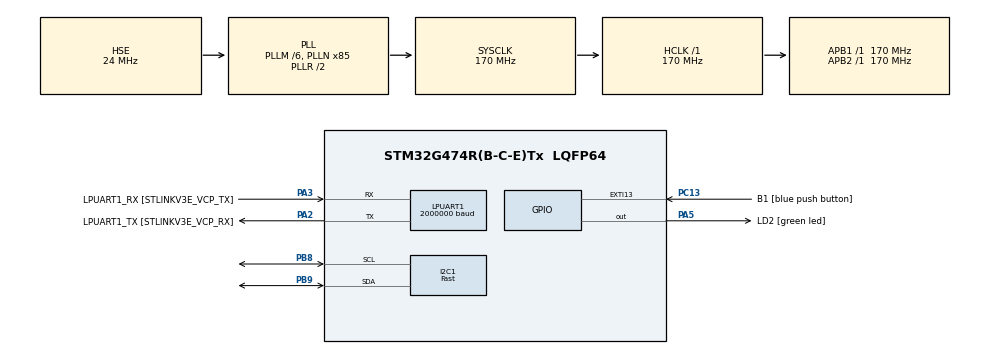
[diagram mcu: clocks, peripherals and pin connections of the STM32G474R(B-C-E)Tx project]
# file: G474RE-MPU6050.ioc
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Dma.LPUART1_RX.0.Direction=DMA_PERIPH_TO_MEMORY
Dma.LPUART1_RX.0.EventEnable=DISABLE
Dma.LPUART1_RX.0.Instance=DMA1_Channel1
Dma.LPUART1_RX.0.MemDataAlignment=DMA_MDATAALIGN_BYTE
Dma.LPUART1_RX.0.MemInc=DMA_MINC_ENABLE
Dma.LPUART1_RX.0.Mode=DMA_CIRCULAR
Dma.LPUART1_RX.0.PeriphDataAlignment=DMA_PDATAALIGN_BYTE
Dma.LPUART1_RX.0.PeriphInc=DMA_PINC_DISABLE
Dma.LPUART1_RX.0.Polarity=HAL_DMAMUX_REQ_GEN_RISING
Dma.LPUART1_RX.0.Priority=DMA_PRIORITY_VERY_HIGH
Dma.LPUART1_RX.0.RequestNumber=1
Dma.LPUART1_RX.0.SignalID=NONE
Dma.LPUART1_RX.0.SyncEnable=DISABLE
Dma.LPUART1_RX.0.SyncPolarity=HAL_DMAMUX_SYNC_NO_EVENT
Dma.LPUART1_RX.0.SyncRequestNumber=1
Dma.LPUART1_RX.0.SyncSignalID=NONE
Dma.LPUART1_TX.1.Direction=DMA_MEMORY_TO_PERIPH
Dma.LPUART1_TX.1.EventEnable=DISABLE
Dma.LPUART1_TX.1.Instance=DMA1_Channel2
Dma.LPUART1_TX.1.MemDataAlignment=DMA_MDATAALIGN_BYTE
Dma.LPUART1_TX.1.MemInc=DMA_MINC_ENABLE
Dma.LPUART1_TX.1.Mode=DMA_NORMAL
Dma.LPUART1_TX.1.PeriphDataAlignment=DMA_PDATAALIGN_BYTE
Dma.LPUART1_TX.1.PeriphInc=DMA_PINC_DISABLE
Dma.LPUART1_TX.1.Polarity=HAL_DMAMUX_REQ_GEN_RISING
Dma.LPUART1_TX.1.Priority=DMA_PRIORITY_VERY_HIGH
Dma.LPUART1_TX.1.RequestNumber=1
Dma.LPUART1_TX.1.SignalID=NONE
Dma.LPUART1_TX.1.SyncEnable=DISABLE
Dma.LPUART1_TX.1.SyncPolarity=HAL_DMAMUX_SYNC_NO_EVENT
Dma.LPUART1_TX.1.SyncRequestNumber=1
Dma.LPUART1_TX.1.SyncSignalID=NONE
Dma.Request0=LPUART1_RX
Dma.Request1=LPUART1_TX
FREERTOS.Tasks01=defaultTask,24,3000,StartDefaultTask,Default,NULL,Static,defaultTaskBuffer,defaultTaskControlBlock
FREERTOS.configENABLE_FPU=1
I2C1.I2C_Speed_Mode=I2C_Fast
I2C1.Timing=0x40621236
IWDG.Reload=2499
LPUART1.BaudRate=2000000
Mcu.Family=STM32G4
Mcu.Name=STM32G474R(B-C-E)Tx
Mcu.Package=LQFP64
NVIC.DMA1_Channel1_IRQn=true\:5\:0\:false\:false\:true\:true\:false\:true\:true
NVIC.DMA1_Channel2_IRQn=true\:5\:0\:false\:false\:true\:true\:false\:true\:true
NVIC.EXTI15_10_IRQn=true\:5\:0\:false\:false\:true\:true\:true\:true\:true
NVIC.LPUART1_IRQn=true\:5\:0\:false\:false\:true\:true\:true\:true\:true
NVIC.PriorityGroup=NVIC_PRIORITYGROUP_4
NVIC.TIM1_UP_TIM16_IRQn=true\:15\:0\:false\:false\:true\:false\:false\:true\:true
NVIC.TimeBase=TIM1_UP_TIM16_IRQn
NVIC.TimeBaseIP=TIM1
PA13.GPIO_Label=T_SWDIO
PA13.Signal=SYS_JTMS-SWDIO
PA14.GPIO_Label=T_SWCLK
PA14.Signal=SYS_JTCK-SWCLK
PA2.GPIO_Label=LPUART1_TX [STLINKV3E_VCP_RX]
PA2.Mode=Asynchronous
PA2.Signal=LPUART1_TX
PA3.GPIO_Label=LPUART1_RX [STLINKV3E_VCP_TX]
PA3.Mode=Asynchronous
PA3.Signal=LPUART1_RX
PA5.GPIO_Label=LD2 [green led]
PA5.Signal=GPIO_Output
PB3.GPIO_Label=T_SWO
PB3.Signal=SYS_JTDO-SWO
PB8-BOOT0.Mode=I2C
PB8-BOOT0.Signal=I2C1_SCL
PB9.Mode=I2C
PB9.Signal=I2C1_SDA
PC13.GPIO_Label=B1 [blue push button]
PC13.Signal=GPXTI13
PC14-OSC32_IN.GPIO_Label=RCC_OSC32_IN
PC14-OSC32_IN.Signal=RCC_OSC32_IN
PC15-OSC32_OUT.GPIO_Label=RCC_OSC32_OUT
PC15-OSC32_OUT.Signal=RCC_OSC32_OUT
PF0-OSC_IN.GPIO_Label=RCC_OSC_IN
PF0-OSC_IN.Mode=HSE-External-Oscillator
PF0-OSC_IN.Signal=RCC_OSC_IN
PF1-OSC_OUT.GPIO_Label=RCC_OSC_OUT
PF1-OSC_OUT.Mode=HSE-External-Oscillator
PF1-OSC_OUT.Signal=RCC_OSC_OUT
ProjectManager.HeapSize=0x200
ProjectManager.StackSize=0x400
ProjectManager.TargetToolchain=STM32CubeIDE
RCC.ADC12Freq_Value=170000000
RCC.ADC345Freq_Value=170000000
RCC.AHBFreq_Value=170000000
RCC.APB1Freq_Value=170000000
RCC.APB1TimFreq_Value=170000000
RCC.APB2Freq_Value=170000000
RCC.APB2TimFreq_Value=170000000
RCC.CortexFreq_Value=170000000
RCC.EXTERNAL_CLOCK_VALUE=12288000
RCC.HCLKFreq_Value=170000000
RCC.HSE_VALUE=24000000
RCC.HSI48_VALUE=48000000
RCC.HSI_VALUE=16000000
RCC.LSE_VALUE=32768
RCC.PLLM=RCC_PLLM_DIV6
RCC.PLLN=85
RCC.PLLSourceVirtual=RCC_PLLSOURCE_HSE
RCC.RTCClockSelection=RCC_RTCCLKSOURCE_LSE
RCC.SYSCLKFreq_VALUE=170000000
RCC.SYSCLKSource=RCC_SYSCLKSOURCE_PLLCLK
RCC.USBFreq_Value=170000000
RCC.VCOOutputFreq_Value=340000000
VP_FREERTOS_VS_CMSIS_V2.Mode=CMSIS_V2
VP_IWDG_VS_IWDG.Mode=IWDG_Activate
VP_SYS_VS_DBSignals.Mode=DisableDeadBatterySignals
VP_SYS_VS_tim1.Mode=TIM1
board=NUCLEO-G474RE

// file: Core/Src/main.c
/* USER CODE BEGIN Header */
/**
  ******************************************************************************
  * @file           : main.c
  * @brief          : Main program body
  ******************************************************************************
  * @attention
  *
  * Copyright (c) 2024 STMicroelectronics.
  * All rights reserved.
  *
  * This software is licensed under terms that can be found in the LICENSE file
  * in the root directory of this software component.
  * If no LICENSE file comes with this software, it is provided AS-IS.
  *
  ******************************************************************************
  */
/* USER CODE END Header */
#include "main.h"
#include "cmsis_os.h"
#include "dma.h"
#include "i2c.h"
#include "iwdg.h"
#include "usart.h"
#include "gpio.h"

void SystemClock_Config(void);
void MX_FREERTOS_Init(void);

int main(void)
{

  /* MCU Configuration--------------------------------------------------------*/

  /* Reset of all peripherals, Initializes the Flash interface and the Systick. */
  HAL_Init();

  /* Configure the system clock */
  SystemClock_Config();

  /* Initialize all configured peripherals */
  MX_GPIO_Init();
  MX_DMA_Init();
  MX_LPUART1_UART_Init();
  MX_IWDG_Init();
  MX_I2C1_Init();

  /* Init scheduler */
  osKernelInitialize();

  /* Call init function for freertos objects (in cmsis_os2.c) */
  MX_FREERTOS_Init();

  /* Start scheduler */
  osKernelStart();

  /* We should never get here as control is now taken by the scheduler */

  /* Infinite loop */
  while (1)
  {

  }
}

void SystemClock_Config(void)
{
  RCC_OscInitTypeDef RCC_OscInitStruct = {0};
  RCC_ClkInitTypeDef RCC_ClkInitStruct = {0};

  /** Configure the main internal regulator output voltage
  */
  HAL_PWREx_ControlVoltageScaling(PWR_REGULATOR_VOLTAGE_SCALE1_BOOST);

  /** Initializes the RCC Oscillators according to the specified parameters
  * in the RCC_OscInitTypeDef structure.
  */
  RCC_OscInitStruct.OscillatorType = RCC_OSCILLATORTYPE_LSI|RCC_OSCILLATORTYPE_HSE;
  RCC_OscInitStruct.HSEState = RCC_HSE_ON;
  RCC_OscInitStruct.LSIState = RCC_LSI_ON;
  RCC_OscInitStruct.PLL.PLLState = RCC_PLL_ON;
  RCC_OscInitStruct.PLL.PLLSource = RCC_PLLSOURCE_HSE;
  RCC_OscInitStruct.PLL.PLLM = RCC_PLLM_DIV6;
  RCC_OscInitStruct.PLL.PLLN = 85;
  RCC_OscInitStruct.PLL.PLLP = RCC_PLLP_DIV2;
  RCC_OscInitStruct.PLL.PLLQ = RCC_PLLQ_DIV2;
  RCC_OscInitStruct.PLL.PLLR = RCC_PLLR_DIV2;
  if (HAL_RCC_OscConfig(&RCC_OscInitStruct) != HAL_OK)
  {
    Error_Handler();
  }

  /** Initializes the CPU, AHB and APB buses clocks
  */
  RCC_ClkInitStruct.ClockType = RCC_CLOCKTYPE_HCLK|RCC_CLOCKTYPE_SYSCLK
                              |RCC_CLOCKTYPE_PCLK1|RCC_CLOCKTYPE_PCLK2;
  RCC_ClkInitStruct.SYSCLKSource = RCC_SYSCLKSOURCE_PLLCLK;
  RCC_ClkInitStruct.AHBCLKDivider = RCC_SYSCLK_DIV1;
  RCC_ClkInitStruct.APB1CLKDivider = RCC_HCLK_DIV1;
  RCC_ClkInitStruct.APB2CLKDivider = RCC_HCLK_DIV1;

  if (HAL_RCC_ClockConfig(&RCC_ClkInitStruct, FLASH_LATENCY_4) != HAL_OK)
  {
    Error_Handler();
  }
}

void HAL_TIM_PeriodElapsedCallback(TIM_HandleTypeDef *htim)
{
  if (htim->Instance == TIM1) {
    HAL_IncTick();
  }
}

void Error_Handler(void)
{
  __disable_irq();
  while (1)
  {
  }
}

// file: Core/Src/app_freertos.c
/* USER CODE BEGIN Header */
/**
  ******************************************************************************
  * File Name          : app_freertos.c
  * Description        : Code for freertos applications
  ******************************************************************************
  * @attention
  *
  * Copyright (c) 2024 STMicroelectronics.
  * All rights reserved.
  *
  * This software is licensed under terms that can be found in the LICENSE file
  * in the root directory of this software component.
  * If no LICENSE file comes with this software, it is provided AS-IS.
  *
  ******************************************************************************
  */
/* USER CODE END Header */

#include "FreeRTOS.h"
#include "task.h"
#include "main.h"
#include "cmsis_os.h"

/* USER CODE BEGIN Includes */
#include "dma.h"
#include "i2c.h"
#include "iwdg.h"
#include "gpio.h"
#include "usart.h"

#include <math.h>
#include <string.h>
#include <mpu6050.h>

#include <rcl/rcl.h>
#include <rcl/error_handling.h>
#include <rclc/rclc.h>
#include <rclc/executor.h>
#include <uxr/client/transport.h>
#include <rmw_microxrcedds_c/config.h>
#include <rmw_microros/rmw_microros.h>

#include <std_msgs/msg/int32.h>
#include <sensor_msgs/msg/imu.h>
#include <geometry_msgs/msg/twist.h>

#include <imu_interfaces/srv/imu_calibration.h>

#include <micro_ros_utilities/string_utilities.h>
/* USER CODE END Includes */

typedef StaticTask_t osStaticThreadDef_t;
/* USER CODE BEGIN PTD */
typedef struct {
	double x;
	double y;
	double z;
} offset3d_t;
/* USER CODE END PTD */

/* USER CODE BEGIN PD */
#define GRAVITY 9.80665
#define DEG_TO_RAD M_PI / 180.0
/* USER CODE END PD */

/* USER CODE BEGIN PM */
#define RCSOFTCHECK(fn) if (fn != RCL_RET_OK) {};
/* USER CODE END PM */

/* USER CODE BEGIN Variables */
rcl_node_t node;

rcl_publisher_t mpu6050_publisher;
sensor_msgs__msg__Imu mpu6050_msg;

rcl_publisher_t cmd_vel_publisher;
geometry_msgs__msg__Twist cmd_vel_msg;

rcl_service_t imu_calibration_server;
imu_interfaces__srv__ImuCalibration_Request imu_calibration_request;
imu_interfaces__srv__ImuCalibration_Response imu_calibration_response;

MPU6050_t MPU6050;
uint16_t cc = 0;

offset3d_t accl_offset;
offset3d_t gyro_offset;

bool is_calib = false;
bool on_calib = false;
/* USER CODE END Variables */
/* Definitions for defaultTask */
osThreadId_t defaultTaskHandle;
uint32_t defaultTaskBuffer[ 3000 ];
osStaticThreadDef_t defaultTaskControlBlock;
const osThreadAttr_t defaultTask_attributes = {
  .name = "defaultTask",
  .stack_mem = &defaultTaskBuffer[0],
  .stack_size = sizeof(defaultTaskBuffer),
  .cb_mem = &defaultTaskControlBlock,
  .cb_size = sizeof(defaultTaskControlBlock),
  .priority = (osPriority_t) osPriorityNormal,
};

/* USER CODE BEGIN FunctionPrototypes */
bool cubemx_transport_open(struct uxrCustomTransport * transport);
bool cubemx_transport_close(struct uxrCustomTransport * transport);
size_t cubemx_transport_write(struct uxrCustomTransport* transport, const uint8_t * buf, size_t len, uint8_t * err);
size_t cubemx_transport_read(struct uxrCustomTransport* transport, uint8_t* buf, size_t len, int timeout, uint8_t* err);

void * microros_allocate(size_t size, void * state);
void microros_deallocate(void * pointer, void * state);
void * microros_reallocate(void * pointer, size_t size, void * state);
void * microros_zero_allocate(size_t number_of_elements, size_t size_of_element, void * state);

void timer_callback(rcl_timer_t * timer, int64_t last_call_time)
{

	if (timer != NULL) {
		if (is_calib || on_calib){
			MPU6050_Read_All(&hi2c1, &MPU6050);

			mpu6050_msg.header.stamp.sec = rmw_uros_epoch_millis() / 1000;
			mpu6050_msg.header.stamp.nanosec = rmw_uros_epoch_nanos();

			mpu6050_msg.linear_acceleration.x = (GRAVITY * MPU6050.Ax) - accl_offset.x;
			mpu6050_msg.linear_acceleration.y = (GRAVITY * MPU6050.Ay) - accl_offset.y;
			mpu6050_msg.linear_acceleration.z = (GRAVITY * MPU6050.Az) - accl_offset.z;

			mpu6050_msg.angular_velocity.x = (DEG_TO_RAD * MPU6050.Gx) - gyro_offset.x;
			mpu6050_msg.angular_velocity.y = (DEG_TO_RAD * MPU6050.Gy) - gyro_offset.y;
			mpu6050_msg.angular_velocity.z = (DEG_TO_RAD * MPU6050.Gz) - gyro_offset.z;

			rcl_ret_t ret = rcl_publish(&mpu6050_publisher, &mpu6050_msg, NULL);

			if (ret != RCL_RET_OK)
			{
			  printf("Error publishing (line %d)\n", __LINE__);
			}

		}

	    HAL_IWDG_Refresh(&hiwdg);
	    cc++;
	}
}

void imu_calib_service_callback(const void * request_msg, void * response_msg){
  // Cast messages to expected types
  imu_interfaces__srv__ImuCalibration_Request * req_in =
    (imu_interfaces__srv__ImuCalibration_Request *) request_msg;
  imu_interfaces__srv__ImuCalibration_Response * res_in =
    (imu_interfaces__srv__ImuCalibration_Response *) response_msg;

  size_t accl_size = sizeof(req_in->imu_calib.linear_acceleration_covariance);
  size_t gyro_size = sizeof(req_in->imu_calib.angular_velocity_covariance);
  memcpy(mpu6050_msg.linear_acceleration_covariance, req_in->imu_calib.linear_acceleration_covariance, accl_size);
  memcpy(mpu6050_msg.angular_velocity_covariance, req_in->imu_calib.angular_velocity_covariance, gyro_size);

  accl_offset.x = req_in->imu_calib.linear_acceleration.x;
  accl_offset.y = req_in->imu_calib.linear_acceleration.y;
  accl_offset.z = req_in->imu_calib.linear_acceleration.z;

  gyro_offset.x = req_in->imu_calib.angular_velocity.x;
  gyro_offset.y = req_in->imu_calib.angular_velocity.y;
  gyro_offset.z = req_in->imu_calib.angular_velocity.z;

  is_calib = true;
  res_in->success = true;

  HAL_GPIO_TogglePin(LD2_GPIO_Port, LD2_Pin);

}
/* USER CODE END FunctionPrototypes */

void StartDefaultTask(void *argument);

void MX_FREERTOS_Init(void); /* (MISRA C 2004 rule 8.1) */

void MX_FREERTOS_Init(void) {
  /* USER CODE BEGIN Init */
  while (MPU6050_Init(&hi2c1) == 1);
  /* USER CODE END Init */

  /* Create the thread(s) */
  /* creation of defaultTask */
  defaultTaskHandle = osThreadNew(StartDefaultTask, NULL, &defaultTask_attributes);

}

void StartDefaultTask(void *argument)
{
  /* USER CODE BEGIN StartDefaultTask */
	// micro-ROS configuration

	rmw_uros_set_custom_transport(
		true,
		(void *) &hlpuart1,
		cubemx_transport_open,
		cubemx_transport_close,
		cubemx_transport_write,
		cubemx_transport_read);

	rcl_allocator_t freeRTOS_allocator = rcutils_get_zero_initialized_allocator();
	freeRTOS_allocator.allocate = microros_allocate;
	freeRTOS_allocator.deallocate = microros_deallocate;
	freeRTOS_allocator.reallocate = microros_reallocate;
	freeRTOS_allocator.zero_allocate =  microros_zero_allocate;

	if (!rcutils_set_default_allocator(&freeRTOS_allocator)) {
	  printf("Error on default allocators (line %d)\n", __LINE__);
	}

	GPIO_PinState B1 = HAL_GPIO_ReadPin(B1_GPIO_Port, B1_Pin);

	// micro-ROS app
	rcl_timer_t mpu6050_timer;
	rclc_support_t support;
	rclc_executor_t executor;
	rcl_allocator_t allocator;
	rcl_init_options_t init_options;

	const unsigned int timer_period = RCL_MS_TO_NS(10);
	const int timeout_ms = 1000;
	int executor_num = 1;

	// Get message type support
	const rosidl_message_type_support_t * imu_type_support =
	  ROSIDL_GET_MSG_TYPE_SUPPORT(sensor_msgs, msg, Imu);

	const rosidl_message_type_support_t * cmd_type_support =
	  ROSIDL_GET_MSG_TYPE_SUPPORT(geometry_msgs, msg, Twist);

	const rosidl_service_type_support_t * imu_calib_type_support =
	  ROSIDL_GET_SRV_TYPE_SUPPORT(imu_interfaces, srv, ImuCalibration);

	allocator = rcl_get_default_allocator();

	executor = rclc_executor_get_zero_initialized_executor();

	init_options = rcl_get_zero_initialized_init_options();

	RCSOFTCHECK(rcl_init_options_init(&init_options, allocator));
	RCSOFTCHECK(rcl_init_options_set_domain_id(&init_options, 69));

	//create support init_options
	rclc_support_init_with_options(&support, 0, NULL, &init_options, &allocator);

	//create timer
	rclc_timer_init_default(&mpu6050_timer, &support, timer_period, timer_callback);

	// create node
	rclc_node_init_default(&node, "G474RE_MPU6050_node", "", &support);

	// create publisher
	rclc_publisher_init_best_effort(&mpu6050_publisher, &node, imu_type_support, "mpu6050_publisher");
	rclc_publisher_init_default(&cmd_vel_publisher, &node, cmd_type_support, "cmd_vel");

	//create subscriber

	//create service server
	if (B1 == GPIO_PIN_RESET) {
		rclc_service_init_default(&imu_calibration_server, &node, imu_calib_type_support, "imu_calibration");
		executor_num++;
	}
	else{
		on_calib = true;
	}
	//create service client

	//create executor
	rclc_executor_init(&executor, &support.context, executor_num, &allocator);

	rclc_executor_add_timer(&executor, &mpu6050_timer);
	if (B1 == GPIO_PIN_RESET) rclc_executor_add_service(&executor, &imu_calibration_server, &imu_calibration_request, &imu_calibration_response, imu_calib_service_callback);

	rclc_executor_spin(&executor);

	rmw_uros_sync_session(timeout_ms);

	//create message
	mpu6050_msg.header.frame_id = micro_ros_string_utilities_init("imu_frame");

	for(;;)
	{
		osDelay(10);
	}
  /* USER CODE END StartDefaultTask */
}
